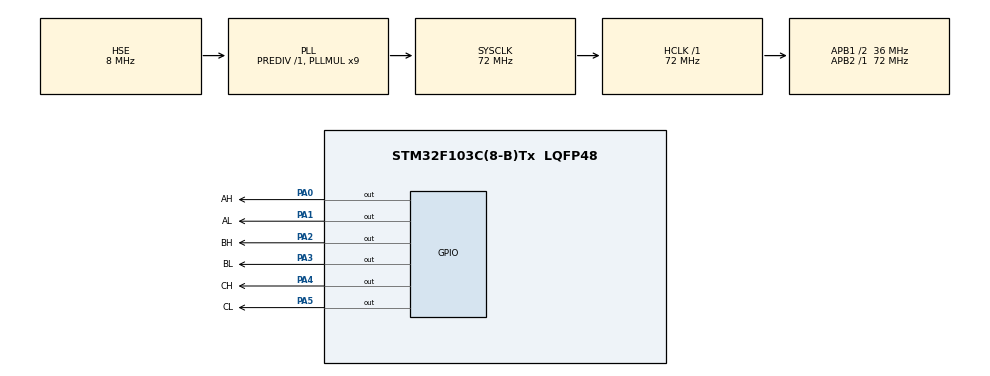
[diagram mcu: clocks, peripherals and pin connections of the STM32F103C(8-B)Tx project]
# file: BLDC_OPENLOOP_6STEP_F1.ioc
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Mcu.Family=STM32F1
Mcu.Name=STM32F103C(8-B)Tx
Mcu.Package=LQFP48
NVIC.PriorityGroup=NVIC_PRIORITYGROUP_4
NVIC.TIM1_UP_IRQn=true\:15\:0\:false\:false\:true\:false\:true\:true
NVIC.TimeBase=TIM1_UP_IRQn
NVIC.TimeBaseIP=TIM1
PA0-WKUP.GPIO_Label=AH
PA0-WKUP.Signal=GPIO_Output
PA1.GPIO_Label=AL
PA1.Signal=GPIO_Output
PA13.Mode=Serial_Wire
PA13.Signal=SYS_JTMS-SWDIO
PA14.Mode=Serial_Wire
PA14.Signal=SYS_JTCK-SWCLK
PA2.GPIO_Label=BH
PA2.Signal=GPIO_Output
PA3.GPIO_Label=BL
PA3.Signal=GPIO_Output
PA4.GPIO_Label=CH
PA4.Signal=GPIO_Output
PA5.GPIO_Label=CL
PA5.Signal=GPIO_Output
PD0-OSC_IN.Mode=HSE-External-Oscillator
PD0-OSC_IN.Signal=RCC_OSC_IN
PD1-OSC_OUT.Mode=HSE-External-Oscillator
PD1-OSC_OUT.Signal=RCC_OSC_OUT
ProjectManager.HeapSize=0x200
ProjectManager.StackSize=0x400
ProjectManager.TargetToolchain=STM32CubeIDE
RCC.AHBFreq_Value=72000000
RCC.APB1CLKDivider=RCC_HCLK_DIV2
RCC.APB1Freq_Value=36000000
RCC.APB1TimFreq_Value=72000000
RCC.APB2Freq_Value=72000000
RCC.APB2TimFreq_Value=72000000
RCC.HCLKFreq_Value=72000000
RCC.PLLMUL=RCC_PLL_MUL9
RCC.PLLSourceVirtual=RCC_PLLSOURCE_HSE
RCC.SYSCLKFreq_VALUE=72000000
RCC.SYSCLKSource=RCC_SYSCLKSOURCE_PLLCLK
RCC.USBFreq_Value=72000000
VP_SYS_VS_tim1.Mode=TIM1
board=custom

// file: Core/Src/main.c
/* USER CODE BEGIN Header */
/**
  ******************************************************************************
  * @file           : main.c
  * @brief          : Main program body
  ******************************************************************************
  * @attention
  *
  * Copyright (c) 2025 STMicroelectronics.
  * All rights reserved.
  *
  * This software is licensed under terms that can be found in the LICENSE file
  * in the root directory of this software component.
  * If no LICENSE file comes with this software, it is provided AS-IS.
  *
  ******************************************************************************
  */
/* USER CODE END Header */
#include "main.h"

/* USER CODE BEGIN PV */
uint8_t delay_ms;
/* USER CODE END PV */

void SystemClock_Config(void);
static void MX_GPIO_Init(void);

int main(void)
{

  /* MCU Configuration--------------------------------------------------------*/

  /* Reset of all peripherals, Initializes the Flash interface and the Systick. */
  HAL_Init();

  /* Configure the system clock */
  SystemClock_Config();

  /* Initialize all configured peripherals */
  MX_GPIO_Init();

  /* Infinite loop */
  while (1)
  {

    /* USER CODE BEGIN 3 */
	  ////////////// STEP 1 ////////////////////
	  HAL_GPIO_WritePin(AH_GPIO_Port, AH_Pin, 0);
	  HAL_GPIO_WritePin(AL_GPIO_Port, AL_Pin, 1);

	  HAL_GPIO_WritePin(BH_GPIO_Port, BH_Pin, 1);
	  HAL_GPIO_WritePin(BL_GPIO_Port, BL_Pin, 0);

	  HAL_GPIO_WritePin(CH_GPIO_Port, CH_Pin, 0);
	  HAL_GPIO_WritePin(CL_GPIO_Port, CL_Pin, 0);

	  ///////////////////////////////////////////

	  // HAL_Delay(delay_ms);	// add dead-time if you want

	  ////////////// STEP 2 ////////////////////
	  HAL_GPIO_WritePin(AH_GPIO_Port, AH_Pin, 1);
	  HAL_GPIO_WritePin(AL_GPIO_Port, AL_Pin, 0);

	  HAL_GPIO_WritePin(BH_GPIO_Port, BH_Pin, 1);
	  HAL_GPIO_WritePin(BL_GPIO_Port, BL_Pin, 0);

	  HAL_GPIO_WritePin(CH_GPIO_Port, CH_Pin, 0);
	  HAL_GPIO_WritePin(CL_GPIO_Port, CL_Pin, 0);

	  ///////////////////////////////////////////

    // HAL_Delay(delay_ms);	// add dead-time if you want

	  ////////////// STEP 3 ////////////////////
	  HAL_GPIO_WritePin(AH_GPIO_Port, AH_Pin, 1);
	  HAL_GPIO_WritePin(AL_GPIO_Port, AL_Pin, 0);

	  HAL_GPIO_WritePin(BH_GPIO_Port, BH_Pin, 0);
	  HAL_GPIO_WritePin(BL_GPIO_Port, BL_Pin, 0);

	  HAL_GPIO_WritePin(CH_GPIO_Port, CH_Pin, 0);
	  HAL_GPIO_WritePin(CL_GPIO_Port, CL_Pin, 1);

	  ///////////////////////////////////////////

    // HAL_Delay(delay_ms);	// add dead-time if you want

	  ////////////// STEP 4 ////////////////////
	  HAL_GPIO_WritePin(AH_GPIO_Port, AH_Pin, 0);
	  HAL_GPIO_WritePin(AL_GPIO_Port, AL_Pin, 0);

	  HAL_GPIO_WritePin(BH_GPIO_Port, BH_Pin, 0);
	  HAL_GPIO_WritePin(BL_GPIO_Port, BL_Pin, 1);

	  HAL_GPIO_WritePin(CH_GPIO_Port, CH_Pin, 1);
	  HAL_GPIO_WritePin(CL_GPIO_Port, CL_Pin, 0);

	  ///////////////////////////////////////////

    // HAL_Delay(delay_ms);	// add dead-time if you want

	  ////////////// STEP 5 ////////////////////
	  HAL_GPIO_WritePin(AH_GPIO_Port, AH_Pin, 1);
	  HAL_GPIO_WritePin(AL_GPIO_Port, AL_Pin, 0);

	  HAL_GPIO_WritePin(BH_GPIO_Port, BH_Pin, 0);
	  HAL_GPIO_WritePin(BL_GPIO_Port, BL_Pin, 0);

	  HAL_GPIO_WritePin(CH_GPIO_Port, CH_Pin, 1);
	  HAL_GPIO_WritePin(CL_GPIO_Port, CL_Pin, 0);
	  ///////////////////////////////////////////

	  // HAL_Delay(delay_ms);	// add dead-time if you want

	  ////////////// STEP 6 ////////////////////
	  HAL_GPIO_WritePin(AH_GPIO_Port, AH_Pin, 0);
	  HAL_GPIO_WritePin(AL_GPIO_Port, AL_Pin, 1);

	  HAL_GPIO_WritePin(BH_GPIO_Port, BH_Pin, 0);
	  HAL_GPIO_WritePin(BL_GPIO_Port, BL_Pin, 0);

	  HAL_GPIO_WritePin(CH_GPIO_Port, CH_Pin, 1);
	  HAL_GPIO_WritePin(CL_GPIO_Port, CL_Pin, 0);

	  ///////////////////////////////////////////

	  // HAL_Delay(delay_ms);	// add dead-time if you want
  }
  /* USER CODE END 3 */
}

void SystemClock_Config(void)
{
  RCC_OscInitTypeDef RCC_OscInitStruct = {0};
  RCC_ClkInitTypeDef RCC_ClkInitStruct = {0};

  /** Initializes the RCC Oscillators according to the specified parameters
  * in the RCC_OscInitTypeDef structure.
  */
  RCC_OscInitStruct.OscillatorType = RCC_OSCILLATORTYPE_HSE;
  RCC_OscInitStruct.HSEState = RCC_HSE_ON;
  RCC_OscInitStruct.HSEPredivValue = RCC_HSE_PREDIV_DIV1;
  RCC_OscInitStruct.HSIState = RCC_HSI_ON;
  RCC_OscInitStruct.PLL.PLLState = RCC_PLL_ON;
  RCC_OscInitStruct.PLL.PLLSource = RCC_PLLSOURCE_HSE;
  RCC_OscInitStruct.PLL.PLLMUL = RCC_PLL_MUL9;
  if (HAL_RCC_OscConfig(&RCC_OscInitStruct) != HAL_OK)
  {
    Error_Handler();
  }

  /** Initializes the CPU, AHB and APB buses clocks
  */
  RCC_ClkInitStruct.ClockType = RCC_CLOCKTYPE_HCLK|RCC_CLOCKTYPE_SYSCLK
                              |RCC_CLOCKTYPE_PCLK1|RCC_CLOCKTYPE_PCLK2;
  RCC_ClkInitStruct.SYSCLKSource = RCC_SYSCLKSOURCE_PLLCLK;
  RCC_ClkInitStruct.AHBCLKDivider = RCC_SYSCLK_DIV1;
  RCC_ClkInitStruct.APB1CLKDivider = RCC_HCLK_DIV2;
  RCC_ClkInitStruct.APB2CLKDivider = RCC_HCLK_DIV1;

  if (HAL_RCC_ClockConfig(&RCC_ClkInitStruct, FLASH_LATENCY_2) != HAL_OK)
  {
    Error_Handler();
  }
}

static void MX_GPIO_Init(void)
{
  GPIO_InitTypeDef GPIO_InitStruct = {0};

  /* GPIO Ports Clock Enable */
  __HAL_RCC_GPIOD_CLK_ENABLE();
  __HAL_RCC_GPIOA_CLK_ENABLE();

  /*Configure GPIO pin Output Level */
  HAL_GPIO_WritePin(GPIOA, AH_Pin|AL_Pin|BH_Pin|BL_Pin
                          |CH_Pin|CL_Pin, GPIO_PIN_RESET);

  /*Configure GPIO pins : AH_Pin AL_Pin BH_Pin BL_Pin
                           CH_Pin CL_Pin */
  GPIO_InitStruct.Pin = AH_Pin|AL_Pin|BH_Pin|BL_Pin
                          |CH_Pin|CL_Pin;
  GPIO_InitStruct.Mode = GPIO_MODE_OUTPUT_PP;
  GPIO_InitStruct.Pull = GPIO_NOPULL;
  GPIO_InitStruct.Speed = GPIO_SPEED_FREQ_LOW;
  HAL_GPIO_Init(GPIOA, &GPIO_InitStruct);

}

void HAL_TIM_PeriodElapsedCallback(TIM_HandleTypeDef *htim)
{
  if (htim->Instance == TIM1) {
    HAL_IncTick();
  }
}

void Error_Handler(void)
{
  __disable_irq();
  while (1)
  {
  }
}
